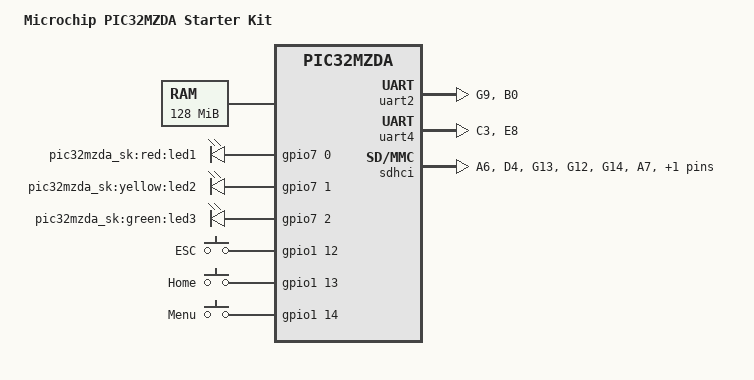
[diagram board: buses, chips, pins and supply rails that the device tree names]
// SPDX-License-Identifier: GPL-2.0-only
/*
 * Copyright (C) 2015 Microchip Technology Inc.  All rights reserved.
 */

/dts-v1/;

#include <dt-bindings/gpio/gpio.h>
#include <dt-bindings/interrupt-controller/irq.h>

#include "pic32mzda.dtsi"

/ {
	compatible = "microchip,pic32mzda-sk", "microchip,pic32mzda";
	model = "Microchip PIC32MZDA Starter Kit";

	memory {
		device_type = "memory";
		reg = <0x08000000 0x08000000>;
	};

	chosen {
		bootargs = "earlyprintk=ttyPIC1,115200n8r console=ttyPIC1,115200n8";
	};

	leds0 {
		compatible = "gpio-leds";
		pinctrl-names = "default";
		pinctrl-0 = <&user_leds_s0>;

		led@1 {
			label = "pic32mzda_sk:red:led1";
			gpios = <&gpio7 0 GPIO_ACTIVE_HIGH>;
			linux,default-trigger = "heartbeat";
		};

		led@2 {
			label = "pic32mzda_sk:yellow:led2";
			gpios = <&gpio7 1 GPIO_ACTIVE_HIGH>;
			linux,default-trigger = "mmc0";
		};

		led@3 {
			label = "pic32mzda_sk:green:led3";
			gpios = <&gpio7 2 GPIO_ACTIVE_HIGH>;
			default-state = "on";
		};
	};

	keys0 {
		compatible = "gpio-keys";
		pinctrl-0 = <&user_buttons_s0>;
		pinctrl-names = "default";

		#address-cells = <1>;
		#size-cells = <0>;

		button@sw1 {
			label = "ESC";
			linux,code = <1>;
			gpios = <&gpio1 12 0>;
		};

		button@sw2 {
			label = "Home";
			linux,code = <102>;
			gpios = <&gpio1 13 0>;
		};

		button@sw3 {
			label = "Menu";
			linux,code = <139>;
			gpios = <&gpio1 14 0>;
		};
	};
};

&uart2 {
	pinctrl-names = "default";
	pinctrl-0 = <&pinctrl_uart2>;
	status = "okay";
};

&uart4 {
	pinctrl-names = "default";
	pinctrl-0 = <&pinctrl_uart4>;
	status = "okay";
};

&sdhci {
	pinctrl-names = "default";
	pinctrl-0 = <&pinctrl_sdhc1>;
	status = "okay";
	assigned-clocks = <&rootclk REF2CLK>, <&rootclk REF4CLK>,
		<&rootclk REF5CLK>;
	assigned-clock-rates = <50000000>, <25000000>, <40000000>;
};

&pic32_pinctrl {

	pinctrl_sdhc1: sdhc1_pins0 {
		pins = "A6", "D4", "G13", "G12", "G14", "A7", "A0";
		microchip,digital;
	};

	user_leds_s0: user_leds_s0 {
		pins = "H0", "H1", "H2";
		output-low;
		microchip,digital;
	};

	user_buttons_s0: user_buttons_s0 {
		pins = "B12", "B13", "B14";
		microchip,digital;
		input-enable;
		bias-pull-up;
	};

	pinctrl_uart2: pinctrl_uart2 {
		uart2-tx {
			pins = "G9";
			function = "U2TX";
			microchip,digital;
			output-high;
		};
		uart2-rx {
			pins = "B0";
			function = "U2RX";
			microchip,digital;
			input-enable;
		};
	};

	pinctrl_uart4: uart4-0 {
		uart4-tx {
			pins = "C3";
			function = "U4TX";
			microchip,digital;
			output-high;
		};
		uart4-rx {
			pins = "E8";
			function = "U4RX";
			microchip,digital;
			input-enable;
		};
	};
};
